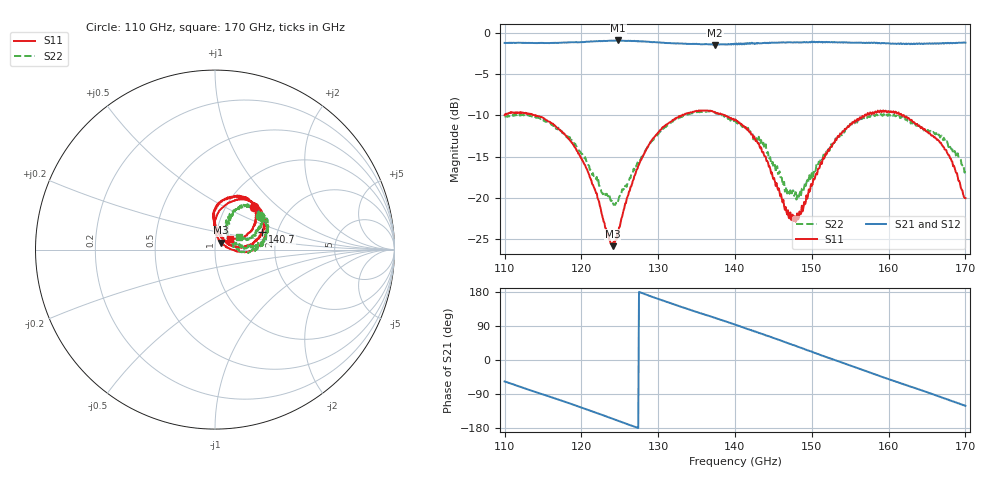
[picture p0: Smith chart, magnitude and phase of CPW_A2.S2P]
!  2-Port S-parameters saved by WinCal
! VAR NAME=CPW_A2
! VAR FILENAME=CPW_A2.S2P
! VAR DATE=10/12/2019 16:28:33
! VAR PHYS_PORTS=1,2
! VAR ObjTypeName=DATASET
! VAR IndexType=Frequency
# Hz S RI R 50
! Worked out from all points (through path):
!   601 points, 110 GHz to 170 GHz, reference 50 ohm
!   highest |S21| = -0.90 dB at 124.8 GHz (marker M1); lowest = -1.4 dB at 137.4 GHz (marker M2)
!   group delay of S21, straight-line fit = 19.7 ps
!   lowest |S11| = -25.9 dB at 124.1 GHz (marker M3), VSWR 1.11, Z = 53.3 + j4.07 ohm
!   |S11| at or under -10 dB: 114.1 GHz to 133.1 GHz (19.01 GHz wide, 15.4 % of centre); 138.7 GHz to 156.9 GHz (18.14 GHz wide, 12.3 % of centre); 162 GHz to end of sweep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
!   |S22| runs from -20.9 to -9.4 dB; largest |S21 - S12| = 0.028
!   S11 on the Smith chart (normalised r, x): 110 GHz: 1.34, +0.70; 140.7 GHz: 1.67, +0.35; 170 GHz: 1.17, +0.14
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1.1e11  0.2149 0.2348  0.4789 -0.7284  0.49 -0.7213  0.2487 0.1864
1.149e11  0.2869 0.1098  -0.00575 -0.8723  0.00923 -0.8706  0.2849 0.0801
1.2e11  0.1733 -0.0132  -0.5093 -0.718  -0.4976 -0.7282  0.1844 -0.0159
1.241e11  0.0338 0.0381  -0.817 -0.3737  -0.8084 -0.3959  0.0807 0.0465
1.248e11  0.0188 0.0578  -0.8508 -0.2995  -0.842 -0.3201  0.0716 0.0648
1.274e11  -0.00345 0.1563  -0.8949 -0.00785  -0.8905 -0.0215  0.0671 0.1472
1.3e11  0.0527 0.2433  -0.8321 0.2833  -0.839 0.2569  0.1096 0.2167
1.344e11  0.1883 0.272  -0.56 0.652  -0.5762 0.6336  0.2426 0.2177
1.374e11  0.2642 0.1969  -0.309 0.7895  -0.3224 0.7896  0.2948 0.1516
1.4e11  0.2728 0.1215  -0.0489 0.8559  -0.0561 0.8576  0.2821 0.0757
1.407e11  0.2631 0.0962  0.017 0.8628  0.00744 0.8611  0.268 0.0513
1.434e11  0.2011 0.0254  0.306 0.8112  0.3005 0.8202  0.2241 0.0111
1.473e11  0.0643 0.0362  0.6574 0.5833  0.6496 0.589  0.1006 0.0514
1.485e11  0.0363 0.0707  0.7396 0.473  0.7342 0.4829  0.0725 0.0814
1.5e11  0.0117 0.1178  0.8245 0.3294  0.8153 0.3393  0.0689 0.1237
1.518e11  -0.00622 0.1861  0.8689 0.1325  0.868 0.1492  0.0751 0.1693
1.546e11  0.028 0.2659  0.8585 -0.1776  0.8599 -0.159  0.1269 0.2303
1.571e11  0.1201 0.2914  0.7599 -0.4328  0.7734 -0.4159  0.1882 0.2451
1.6e11  0.1982 0.2707  0.5477 -0.6697  0.5628 -0.6563  0.2483 0.2048
1.636e11  0.2241 0.1677  0.2195 -0.8358  0.224 -0.8339  0.2436 0.1252
1.667e11  0.1926 0.0985  -0.1035 -0.8632  -0.1029 -0.861  0.217 0.0833
1.7e11  0.0808 0.0581  -0.4527 -0.7481  -0.4506 -0.7489  0.1348 0.068
